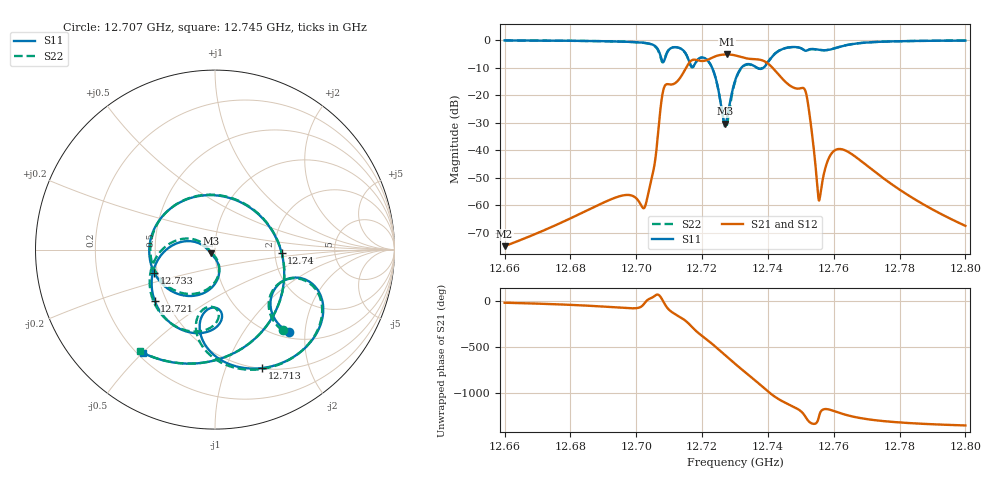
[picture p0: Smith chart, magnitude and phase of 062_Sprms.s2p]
! TOUCHSTONE file generated by CST MICROWAVE STUDIO
! Date and time: Wed Jul 31 13:49:23 2024
! Project name: WaveGuide_BPF-Ver4.1_U-shape_Ku_T3_C4_CWA_2.cst
! Parameters = {cavity_h=16; cavity_l0=10; cavity_l1=15.1989; cavity_l2=16.8156; cavity_l3=17.0939; cavity_l4=17.2873; cavity_l5=17.143; cavity_l6=17.5837; cavity_r=2.5; cavity_screw_l=0.5; cavity_screw_r=1.5; cavity_w=8; iris_h00=0; iris_h01=8.8123; iris_h112=0; iris_h12=5.5964; iris_h211=3.6572; i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
! Header version: 2018
! Port assignment regex: !\s*Touchstone port\s*([0-9]+)\s*=\s*(CST MWS port|CST DS port)\s*([0-9]+|Zmin|Zmax)\s*\(\"(.*)\"\)(\s*mode\s*([0-9]+))?.*
! Touchstone port assignment:
! Touchstone port 1 = CST MWS port 1 ("")
! Touchstone port 2 = CST MWS port 2 ("")
# GHz S RI R 50
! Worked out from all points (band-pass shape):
!   5001 points, 12.66 GHz to 12.8 GHz, reference 50 ohm
!   highest |S21| = -5.24 dB at 12.728 GHz (marker M1); lowest = -74.8 dB at 12.66 GHz (marker M2)
!   |S21| within 3 dB of the highest: 12.71609 GHz to 12.73969 GHz (23.6 MHz wide, 0.185 % of centre)
!   lowest |S11| = -30.3 dB at 12.727 GHz (marker M3), VSWR 1.06, Z = 47.7 - j1.88 ohm
!   |S11| at or under -10 dB: 12.72303 GHz to 12.73198 GHz (8.945 MHz wide, 0.0703 % of centre); 12.73662 GHz to 12.73871 GHz (2.095 MHz wide, 0.0164 % of centre)
!   |S22| runs from -31.9 to -0.2 dB; largest |S21 - S12| = 1.4e-09
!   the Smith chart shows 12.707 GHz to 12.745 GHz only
!   S11 on the Smith chart (normalised r, x): 12.707 GHz: 1.12, -1.64; 12.713 GHz: 0.51, -1.35; 12.721 GHz: 0.43, -0.31; 12.733 GHz: 0.48, -0.15; 12.74 GHz: 2.18, -0.10; 12.745 GHz: 0.22, -0.50
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12.66  0.2877 0.9392  0.000171 -6.5e-05  0.000171 -6.5e-05  0.2941 0.9372
12.68335  0.6776 0.6863  0.00047 -0.000553  0.00047 -0.000553  0.6841 0.6795
12.70239  0.8721 -0.1749  0.000764 -0.000472  0.000764 -0.000472  0.8655 -0.1951
12.70668  0.4603 -0.476  0.00878 0.0202  0.00878 0.0202  0.4253 -0.4755
12.70693  0.4103 -0.4578  0.0153 0.0278  0.0153 0.0278  0.3761 -0.4496
12.71328  0.2634 -0.66  -0.204 -0.0139  -0.204 -0.0139  0.2365 -0.668
12.71695  -0.0137 -0.3235  0.1169 0.4161  0.1169 0.4161  -0.0292 -0.3181
12.72146  -0.3359 -0.2851  0.1955 -0.3858  0.1955 -0.3858  -0.3527 -0.2592
12.72695  -0.0235 -0.0197  -0.3434 0.4249  -0.3434 0.4249  -0.0244 -0.0108
12.72754  -0.00913 -0.0361  -0.1928 0.5121  -0.1928 0.5121  -0.0102 -0.0264
12.73  0.0059 -0.181  0.4362 0.2965  0.4362 0.2965  0.00429 -0.1738
12.73336  -0.3372 -0.1311  0.1897 -0.4257  0.1897 -0.4257  -0.34 -0.104
12.73678  -0.0947 0.2976  -0.4365 -0.0929  -0.4365 -0.0929  -0.0531 0.3054
12.73972  0.3713 -0.0189  -0.0717 0.3797  -0.0717 0.3797  0.3797 -0.053
12.7449  -0.3992 -0.5766  0.1681 -0.0758  0.1681 -0.0758  -0.4154 -0.5674
12.75111  -0.5491 0.3465  -0.1265 -0.0264  -0.1265 -0.0264  -0.5336 0.3646
12.75335  -0.328 0.6054  -0.00482 0.0205  -0.00482 0.0205  -0.2958 0.6168
12.75559  0.1896 0.6366  -0.00122 -0.000211  -0.00122 -0.000211  0.2294 0.6196
12.75946  0.67 -0.1373  -0.00363 -0.00819  -0.00363 -0.00819  0.6638 -0.1825
12.76508  -0.0196 -0.8324  -0.0088 -0.000655  -0.0088 -0.000655  -0.0483 -0.8352
12.77668  -0.8317 -0.4405  -0.00147 0.00221  -0.00147 0.00221  -0.8387 -0.4288
12.8  -0.9566 0.2046  6.3e-05 0.000422  6.3e-05 0.000422  -0.955 0.2127
